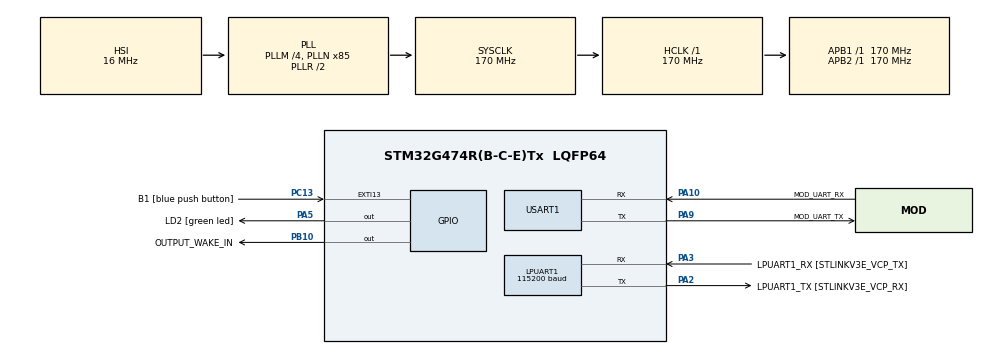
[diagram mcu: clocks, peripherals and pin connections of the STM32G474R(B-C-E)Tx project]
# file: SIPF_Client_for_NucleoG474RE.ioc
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Dma.Request0=USART1_RX
Dma.USART1_RX.0.Direction=DMA_PERIPH_TO_MEMORY
Dma.USART1_RX.0.EventEnable=DISABLE
Dma.USART1_RX.0.Instance=DMA1_Channel1
Dma.USART1_RX.0.MemDataAlignment=DMA_MDATAALIGN_BYTE
Dma.USART1_RX.0.MemInc=DMA_MINC_ENABLE
Dma.USART1_RX.0.Mode=DMA_CIRCULAR
Dma.USART1_RX.0.PeriphDataAlignment=DMA_PDATAALIGN_BYTE
Dma.USART1_RX.0.PeriphInc=DMA_PINC_DISABLE
Dma.USART1_RX.0.Polarity=HAL_DMAMUX_REQ_GEN_RISING
Dma.USART1_RX.0.Priority=DMA_PRIORITY_LOW
Dma.USART1_RX.0.RequestNumber=1
Dma.USART1_RX.0.SignalID=NONE
Dma.USART1_RX.0.SyncEnable=DISABLE
Dma.USART1_RX.0.SyncPolarity=HAL_DMAMUX_SYNC_NO_EVENT
Dma.USART1_RX.0.SyncRequestNumber=1
Dma.USART1_RX.0.SyncSignalID=NONE
LPUART1.BaudRate=115200
LPUART1.WordLength=UART_WORDLENGTH_8B
Mcu.Family=STM32G4
Mcu.Name=STM32G474R(B-C-E)Tx
Mcu.Package=LQFP64
NVIC.DMA1_Channel1_IRQn=true\:0\:0\:false\:false\:true\:false\:true
NVIC.PriorityGroup=NVIC_PRIORITYGROUP_4
PA10.GPIO_Label=MOD_UART_RX
PA10.Mode=Asynchronous
PA10.Signal=USART1_RX
PA13.GPIO_Label=T_SWDIO
PA13.Mode=Trace_Asynchronous_SW
PA13.Signal=SYS_JTMS-SWDIO
PA14.GPIO_Label=T_SWCLK
PA14.Mode=Trace_Asynchronous_SW
PA14.Signal=SYS_JTCK-SWCLK
PA2.GPIO_Label=LPUART1_TX [STLINKV3E_VCP_RX]
PA2.Mode=Asynchronous
PA2.Signal=LPUART1_TX
PA3.GPIO_Label=LPUART1_RX [STLINKV3E_VCP_TX]
PA3.Mode=Asynchronous
PA3.Signal=LPUART1_RX
PA5.GPIO_Label=LD2 [green led]
PA5.Signal=GPIO_Output
PA9.GPIO_Label=MOD_UART_TX
PA9.Mode=Asynchronous
PA9.Signal=USART1_TX
PB10.GPIO_Label=OUTPUT_WAKE_IN
PB10.Signal=GPIO_Output
PB3.GPIO_Label=T_SWO
PB3.Mode=Trace_Asynchronous_SW
PB3.Signal=SYS_JTDO-SWO
PC13.GPIO_Label=B1 [blue push button]
PC13.GPIO_ModeDefaultEXTI=GPIO_MODE_IT_FALLING
PC13.Signal=GPXTI13
PC14-OSC32_IN.Mode=LSE-External-Oscillator
PC14-OSC32_IN.Signal=RCC_OSC32_IN
PC15-OSC32_OUT.Mode=LSE-External-Oscillator
PC15-OSC32_OUT.Signal=RCC_OSC32_OUT
PF0-OSC_IN.Mode=HSE-External-Oscillator
PF0-OSC_IN.Signal=RCC_OSC_IN
PF1-OSC_OUT.Mode=HSE-External-Oscillator
PF1-OSC_OUT.Signal=RCC_OSC_OUT
ProjectManager.HeapSize=0x200
ProjectManager.StackSize=0x400
ProjectManager.TargetToolchain=STM32CubeIDE
RCC.ADC12Freq_Value=170000000
RCC.ADC345Freq_Value=170000000
RCC.AHBFreq_Value=170000000
RCC.APB1Freq_Value=170000000
RCC.APB1TimFreq_Value=170000000
RCC.APB2Freq_Value=170000000
RCC.APB2TimFreq_Value=170000000
RCC.CortexFreq_Value=170000000
RCC.EXTERNAL_CLOCK_VALUE=12288000
RCC.HCLKFreq_Value=170000000
RCC.HSE_VALUE=24000000
RCC.HSI48_VALUE=48000000
RCC.HSI_VALUE=16000000
RCC.PLLM=RCC_PLLM_DIV4
RCC.PLLN=85
RCC.RTCClockSelection=RCC_RTCCLKSOURCE_LSE
RCC.SYSCLKFreq_VALUE=170000000
RCC.SYSCLKSource=RCC_SYSCLKSOURCE_PLLCLK
RCC.USBFreq_Value=170000000
RCC.VCOOutputFreq_Value=340000000
USART1.VirtualMode-Asynchronous=VM_ASYNC
VP_SYS_VS_DBSignals.Mode=DisableDeadBatterySignals
board=NUCLEO-G474RE

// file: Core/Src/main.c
/* USER CODE BEGIN Header */
/**
  ******************************************************************************
  * @file           : main.c
  * @brief          : Main program body
  ******************************************************************************
  * @attention
  *
  * <h2><center>&copy; Copyright (c) 2021 STMicroelectronics.
  * All rights reserved.</center></h2>
  *
  * This software component is licensed by ST under BSD 3-Clause license,
  * the "License"; You may not use this file except in compliance with the
  * License. You may obtain a copy of the License at:
  *                        opensource.org/licenses/BSD-3-Clause
  *
  ******************************************************************************
  */
/* USER CODE END Header */
#include "main.h"
#include "dma.h"
#include "usart.h"
#include "gpio.h"

/* USER CODE BEGIN Includes */
#include <stdio.h>
#include <stdarg.h>
#include <string.h>
#include "sipf_client.h"
/* USER CODE END Includes */

/* USER CODE BEGIN PD */
#define SW_POLL_TIMEOUT	(100)
/* USER CODE END PD */

/* USER CODE BEGIN PM */
#define UART_HANDLE_STLINK	(&hlpuart1)
#define UART_HANDLE_NRF9160	(&huart1)
/* USER CODE END PM */

/* USER CODE BEGIN PV */
static uint8_t buff[256];
/* USER CODE END PV */

void SystemClock_Config(void);
/* USER CODE BEGIN PFP */
void SipfClientUartInit(UART_HandleTypeDef *puart);
/* USER CODE END PFP */

/* USER CODE BEGIN 0 */
int print_msg(const char *fmt, ...)
{
    static char msg[128];
    int  len;

    va_list list;
    va_start(list, fmt);
    len = vsprintf(msg, fmt, list);
    va_end(list);

    HAL_UART_Transmit(UART_HANDLE_STLINK, (uint8_t*)msg, len, 100);

    return len;
}

static void requestResetModule(void)
{
	// Reset request.
	HAL_GPIO_WritePin(OUTPUT_WAKE_IN_GPIO_Port, OUTPUT_WAKE_IN_Pin, GPIO_PIN_SET);
	HAL_Delay(10);
	HAL_GPIO_WritePin(OUTPUT_WAKE_IN_GPIO_Port, OUTPUT_WAKE_IN_Pin, GPIO_PIN_RESET);

	HAL_Delay(200);
}

static int waitBootModule(void)
{
	int len, is_echo = 0;

	// Wait READY message.
	for (;;) {
		len = SipfUtilReadLine(buff, sizeof(buff), 65000);
		if (len < 0) {
			// ERROR or BUSY or TIMEOUT
			return len;
		}
		if (len == 0) {
			continue;
		}
		if (len >= 13) {
			if (memcmp(buff, "*** SIPF Client", 15) == 0) {
				is_echo = 1;
			}
			//Detect READY message.
			if (memcmp(buff, "+++ Ready +++", 13) == 0) {
				break;
			}
			if (memcmp(buff, "ERR:Faild", 9) == 0) {
				print_msg("%s\r\n", buff);
				return -1;
			}
		}
		if (is_echo) {
			print_msg("%s\r\n", buff);
		}
	}
	return 0;
}
/* USER CODE END 0 */

int main(void)
{
  /* USER CODE BEGIN 1 */
  int ret;
  /* USER CODE END 1 */

  /* MCU Configuration--------------------------------------------------------*/

  /* Reset of all peripherals, Initializes the Flash interface and the Systick. */
  HAL_Init();

  /* Configure the system clock */
  SystemClock_Config();

  /* Initialize all configured peripherals */
  MX_GPIO_Init();
  MX_LPUART1_UART_Init();
  MX_DMA_Init();
  MX_USART1_UART_Init();
  /* USER CODE BEGIN 2 */
  print_msg("*** SIPF Client for Nucleo ***\r\n");

  SipfClientUartInit(UART_HANDLE_NRF9160);

  print_msg("Request module reset.\r\n");
  requestResetModule();

  print_msg("Waiting module boot\r\n");
  print_msg("### MODULE OUTPUT ###\r\n");
  ret = waitBootModule();
  if (ret != 0) {
	  print_msg("FAILED(%d)\r\n", ret);
	  return -1;
  }
  print_msg("#####################\r\n");
  print_msg("OK\r\n");

  HAL_Delay(100);

  print_msg("Set Auth mode... ");
  ret = SipfSetAuthMode(0x01);
  if (ret != 0) {
	print_msg((char *)buff, "FAILED(%d)\r\n", ret);
	return -1;
  }
  print_msg("OK\r\n");

  SipfClientFlushReadBuff();

  print_msg("+++ Ready +++\r\n");
  /* USER CODE END 2 */

  /* Infinite loop */
  /* USER CODE BEGIN WHILE */
  uint32_t count_tx = 1;
  uint32_t poll_timeout = uwTick + SW_POLL_TIMEOUT;
  GPIO_PinState prev_ps = GPIO_PIN_SET;
  while (1)
  {
    /* USER CODE END WHILE */

    /* USER CODE BEGIN 3 */
	uint8_t b;
	for (;;) {
		if (SipfClientUartReadByte(&b) != -1) {
			HAL_UART_Transmit(UART_HANDLE_STLINK, &b, 1, 0);
		} else {
			break;
		}
	}
	for (;;) {
		if (HAL_UART_Receive(UART_HANDLE_STLINK, &b, 1, 0) == HAL_OK) {
			SipfClientUartWriteByte(b);
		} else {
			break;
		}
	}

	// B2 Push
	if (((int)poll_timeout - (int)uwTick) <= 0) {
		poll_timeout = uwTick + SW_POLL_TIMEOUT;
		GPIO_PinState ps;
		ps = HAL_GPIO_ReadPin(B1_GPIO_Port, B1_Pin);
		if ((prev_ps == GPIO_PIN_SET) && (ps == GPIO_PIN_RESET)) {
			print_msg("B1 PUSHED\r\nTX(tag_id: 0x01, type: 0x04, value: %d)\r\n", count_tx);
			memset(buff, 0, sizeof(buff));
			ret = SipfCmdTx(0x01, 0x04, (uint8_t*)&count_tx, 4, buff);
			if (ret == 0) {
				print_msg("OK(OTID: %s)\r\n", buff);
				count_tx++;
			} else {
				print_msg("NG\r\n");
			}
		}
		prev_ps = ps;
	}
  }
  /* USER CODE END 3 */
}

void SystemClock_Config(void)
{
  RCC_OscInitTypeDef RCC_OscInitStruct = {0};
  RCC_ClkInitTypeDef RCC_ClkInitStruct = {0};
  RCC_PeriphCLKInitTypeDef PeriphClkInit = {0};

  /** Configure the main internal regulator output voltage
  */
  HAL_PWREx_ControlVoltageScaling(PWR_REGULATOR_VOLTAGE_SCALE1_BOOST);
  /** Initializes the RCC Oscillators according to the specified parameters
  * in the RCC_OscInitTypeDef structure.
  */
  RCC_OscInitStruct.OscillatorType = RCC_OSCILLATORTYPE_HSI;
  RCC_OscInitStruct.HSIState = RCC_HSI_ON;
  RCC_OscInitStruct.HSICalibrationValue = RCC_HSICALIBRATION_DEFAULT;
  RCC_OscInitStruct.PLL.PLLState = RCC_PLL_ON;
  RCC_OscInitStruct.PLL.PLLSource = RCC_PLLSOURCE_HSI;
  RCC_OscInitStruct.PLL.PLLM = RCC_PLLM_DIV4;
  RCC_OscInitStruct.PLL.PLLN = 85;
  RCC_OscInitStruct.PLL.PLLP = RCC_PLLP_DIV2;
  RCC_OscInitStruct.PLL.PLLQ = RCC_PLLQ_DIV2;
  RCC_OscInitStruct.PLL.PLLR = RCC_PLLR_DIV2;
  if (HAL_RCC_OscConfig(&RCC_OscInitStruct) != HAL_OK)
  {
    Error_Handler();
  }
  /** Initializes the CPU, AHB and APB buses clocks
  */
  RCC_ClkInitStruct.ClockType = RCC_CLOCKTYPE_HCLK|RCC_CLOCKTYPE_SYSCLK
                              |RCC_CLOCKTYPE_PCLK1|RCC_CLOCKTYPE_PCLK2;
  RCC_ClkInitStruct.SYSCLKSource = RCC_SYSCLKSOURCE_PLLCLK;
  RCC_ClkInitStruct.AHBCLKDivider = RCC_SYSCLK_DIV1;
  RCC_ClkInitStruct.APB1CLKDivider = RCC_HCLK_DIV1;
  RCC_ClkInitStruct.APB2CLKDivider = RCC_HCLK_DIV1;

  if (HAL_RCC_ClockConfig(&RCC_ClkInitStruct, FLASH_LATENCY_4) != HAL_OK)
  {
    Error_Handler();
  }
  /** Initializes the peripherals clocks
  */
  PeriphClkInit.PeriphClockSelection = RCC_PERIPHCLK_USART1|RCC_PERIPHCLK_LPUART1;
  PeriphClkInit.Usart1ClockSelection = RCC_USART1CLKSOURCE_PCLK2;
  PeriphClkInit.Lpuart1ClockSelection = RCC_LPUART1CLKSOURCE_PCLK1;
  if (HAL_RCCEx_PeriphCLKConfig(&PeriphClkInit) != HAL_OK)
  {
    Error_Handler();
  }
}

void Error_Handler(void)
{
  __disable_irq();
  while (1)
  {
  }
}

/************************ (C) COPYRIGHT STMicroelectronics *****END OF FILE****/
